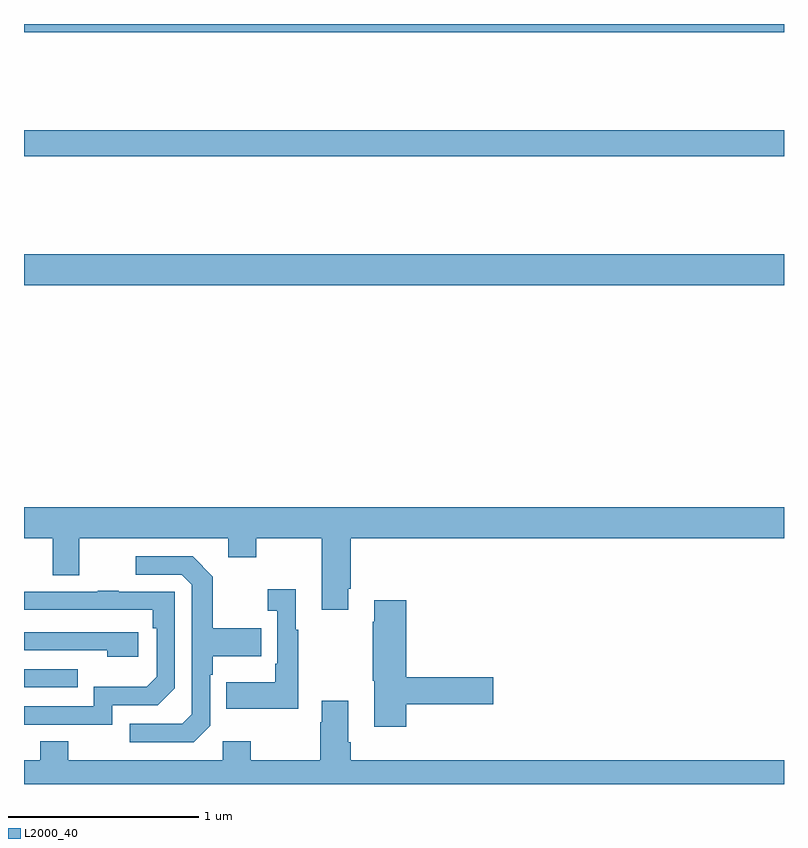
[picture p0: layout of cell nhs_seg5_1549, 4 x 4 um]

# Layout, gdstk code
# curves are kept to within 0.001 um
import gdstk
lib = gdstk.Library(unit=1e-6, precision=1e-09)
def R(c, l, rs):  # rectangles x0, y0, x1, y1
    for r in rs: c.add(gdstk.rectangle(r[:2], r[2:], *l))
def P(c, l, *ps):  # polygons
    for p in ps: c.add(gdstk.Polygon(p, *l))
L2000_40 = (2000, 40)

nhs_seg5_1549 = lib.new_cell('nhs_seg5_1549')
R(nhs_seg5_1549, L2000_40, [(205,857.307,205.283,857.403), (205,859.424,209,859.588), (205,860.104,209,860.24), (205,860.756,209,860.799)])
P(nhs_seg5_1549, L2000_40, [(206.707,857.827),(206.72,857.827),(206.72,858.092),(209,858.092),(209,858.256),(205,858.256),(205,858.092),(205.151,858.092),(205.151,857.898),(205.291,857.898),(205.291,858.092),(206.075,858.092),(206.075,857.993),(206.223,857.993),(206.223,858.092),(206.567,858.092),(206.567,857.715),(206.707,857.715)],
  [(205.98,857.106),(205.98,857.375),(205.993,857.375),(205.993,857.471),(206.249,857.471),(206.249,857.619),(205.993,857.619),(205.993,857.891),(205.887,857.997),(205.587,857.997),(205.587,857.901),(205.83,857.901),(205.884,857.847),(205.884,857.166),(205.833,857.115),(205.557,857.115),(205.557,857.019),(205.893,857.019)],
  [(206.443,857.611),(206.431,857.611),(206.431,857.824),(206.283,857.824),(206.283,857.711),(206.334,857.711),(206.334,857.431),(206.322,857.431),(206.322,857.335),(206.065,857.335),(206.065,857.195),(206.443,857.195)],
  [(205.464,857.214),(205.704,857.214),(205.794,857.304),(205.794,857.811),(205.499,857.811),(205.499,857.816),(205.387,857.816),(205.387,857.811),(205,857.811),(205,857.716),(205.003,857.715),(205.678,857.715),(205.678,857.618),(205.698,857.618),(205.698,857.364),(205.645,857.311),(205.368,857.311),(205.368,857.208),(205,857.208),(205,857.112),(205.464,857.112)],
  [(207.011,857.218),(207.469,857.218),(207.469,857.36),(207.011,857.36),(207.011,857.767),(206.843,857.767),(206.843,857.654),(206.836,857.654),(206.836,857.343),(206.843,857.343),(206.843,857.1),(207.011,857.1)],
  [(205.6,857.598),(205,857.598),(205,857.502),(205.439,857.502),(205.439,857.468),(205.6,857.468)],
  [(209,856.924),(206.72,856.924),(206.72,857.02),(206.707,857.02),(206.707,857.236),(206.567,857.236),(206.567,857.123),(206.56,857.123),(206.56,856.924),(206.193,856.924),(206.193,857.023),(206.046,857.023),(206.046,856.924),(205.233,856.924),(205.233,857.023),(205.085,857.023),(205.085,856.924),(205,856.924),(205,856.799),(209,856.799)])

lib.write_gds('nhs_seg5_1549.gds')
